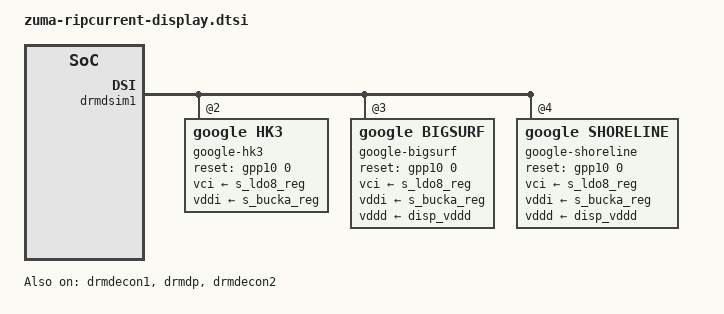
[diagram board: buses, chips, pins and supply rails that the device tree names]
// SPDX-License-Identifier: GPL-2.0-only
/*
 * Display nodes for slider-related boards.
 *
 * Copyright 2022 Google LLC
 *
 */

#include "zuma-shusky-display.dtsi"

&drmdsim0 {
	panel@0 {
		touch = <&spitouch>;
	};
};

&drmdsim1 {
	panel@2 {
		compatible = "google,hk3";
		label = "google-hk3";
		channel = <0>;

		/* reset, power */
		reset-gpios = <&gpp10 0 GPIO_ACTIVE_HIGH>;
		vci-supply = <&s_ldo8_reg>;
		vddi-supply = <&s_bucka_reg>;
	};
	panel@3 {
		compatible = "google,bigsurf";
		label = "google-bigsurf";
		channel = <0>;

		/* reset, power */
		reset-gpios = <&gpp10 0 GPIO_ACTIVE_HIGH>;
		vci-supply = <&s_ldo8_reg>;
		vddi-supply = <&s_bucka_reg>;
		vddd-supply = <&disp_vddd>;
	};
	panel@4 {
		compatible = "google,shoreline";
		label = "google-shoreline";
		channel = <0>;

		/* reset, power */
		reset-gpios = <&gpp10 0 GPIO_ACTIVE_HIGH>;
		vci-supply = <&s_ldo8_reg>;
		vddi-supply = <&s_bucka_reg>;
		vddd-supply = <&disp_vddd>;
	};
};

&disp_vddd {
	status = "okay";
	gpio = <&s2mpg15_gpio 8 GPIO_ACTIVE_HIGH>;
};

&s_ldo8_reg {
	/delete-property/ regulator-always-on;
};

&drmdecon1 {
	status = "okay";
};

&drmdp {
	status = "okay";
};

&drmdecon2 {
	status = "okay";
};
